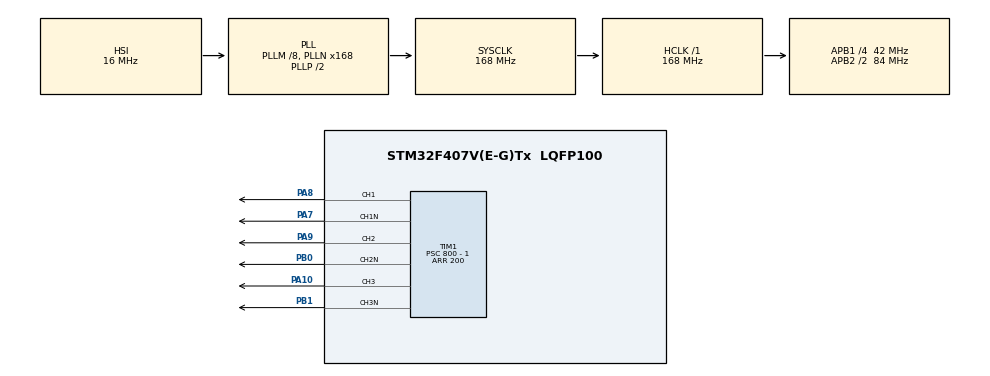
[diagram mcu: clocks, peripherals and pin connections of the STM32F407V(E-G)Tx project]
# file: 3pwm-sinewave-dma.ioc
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Dma.Request0=TIM1_CH1
Dma.Request1=TIM1_CH2
Dma.Request2=TIM1_CH3
Dma.TIM1_CH1.0.Direction=DMA_MEMORY_TO_PERIPH
Dma.TIM1_CH1.0.FIFOMode=DMA_FIFOMODE_DISABLE
Dma.TIM1_CH1.0.Instance=DMA2_Stream1
Dma.TIM1_CH1.0.MemDataAlignment=DMA_MDATAALIGN_WORD
Dma.TIM1_CH1.0.MemInc=DMA_MINC_ENABLE
Dma.TIM1_CH1.0.Mode=DMA_CIRCULAR
Dma.TIM1_CH1.0.PeriphDataAlignment=DMA_PDATAALIGN_WORD
Dma.TIM1_CH1.0.PeriphInc=DMA_PINC_DISABLE
Dma.TIM1_CH1.0.Priority=DMA_PRIORITY_LOW
Dma.TIM1_CH2.1.Direction=DMA_MEMORY_TO_PERIPH
Dma.TIM1_CH2.1.FIFOMode=DMA_FIFOMODE_DISABLE
Dma.TIM1_CH2.1.Instance=DMA2_Stream2
Dma.TIM1_CH2.1.MemDataAlignment=DMA_MDATAALIGN_WORD
Dma.TIM1_CH2.1.MemInc=DMA_MINC_ENABLE
Dma.TIM1_CH2.1.Mode=DMA_CIRCULAR
Dma.TIM1_CH2.1.PeriphDataAlignment=DMA_PDATAALIGN_WORD
Dma.TIM1_CH2.1.PeriphInc=DMA_PINC_DISABLE
Dma.TIM1_CH2.1.Priority=DMA_PRIORITY_LOW
Dma.TIM1_CH3.2.Direction=DMA_MEMORY_TO_PERIPH
Dma.TIM1_CH3.2.FIFOMode=DMA_FIFOMODE_DISABLE
Dma.TIM1_CH3.2.Instance=DMA2_Stream6
Dma.TIM1_CH3.2.MemDataAlignment=DMA_MDATAALIGN_WORD
Dma.TIM1_CH3.2.MemInc=DMA_MINC_ENABLE
Dma.TIM1_CH3.2.Mode=DMA_CIRCULAR
Dma.TIM1_CH3.2.PeriphDataAlignment=DMA_PDATAALIGN_WORD
Dma.TIM1_CH3.2.PeriphInc=DMA_PINC_DISABLE
Dma.TIM1_CH3.2.Priority=DMA_PRIORITY_LOW
Mcu.Family=STM32F4
Mcu.Name=STM32F407V(E-G)Tx
Mcu.Package=LQFP100
NVIC.DMA2_Stream1_IRQn=true\:0\:0\:false\:false\:true\:false\:true
NVIC.DMA2_Stream2_IRQn=true\:0\:0\:false\:false\:true\:false\:true
NVIC.DMA2_Stream6_IRQn=true\:0\:0\:false\:false\:true\:false\:true
NVIC.PriorityGroup=NVIC_PRIORITYGROUP_4
PA10.Signal=S_TIM1_CH3
PA13.Mode=Serial_Wire
PA13.Signal=SYS_JTMS-SWDIO
PA14.Mode=Serial_Wire
PA14.Signal=SYS_JTCK-SWCLK
PA7.Mode=PWM Generation1 CH1 CH1N
PA7.Signal=TIM1_CH1N
PA8.Signal=S_TIM1_CH1
PA9.Signal=S_TIM1_CH2
PB0.Mode=PWM Generation2 CH2 CH2N
PB0.Signal=TIM1_CH2N
PB1.Mode=PWM Generation3 CH3 CH3N
PB1.Signal=TIM1_CH3N
ProjectManager.HeapSize=0x200
ProjectManager.StackSize=0x400
ProjectManager.TargetToolchain=MDK-ARM V5.27
RCC.48MHZClocksFreq_Value=84000000
RCC.AHBFreq_Value=168000000
RCC.APB1CLKDivider=RCC_HCLK_DIV4
RCC.APB1Freq_Value=42000000
RCC.APB1TimFreq_Value=84000000
RCC.APB2CLKDivider=RCC_HCLK_DIV2
RCC.APB2Freq_Value=84000000
RCC.APB2TimFreq_Value=168000000
RCC.CortexFreq_Value=168000000
RCC.HCLKFreq_Value=168000000
RCC.HSE_VALUE=25000000
RCC.HSI_VALUE=16000000
RCC.LSE_VALUE=32768
RCC.PLLM=8
RCC.PLLN=168
RCC.SYSCLKFreq_VALUE=168000000
RCC.SYSCLKSource=RCC_SYSCLKSOURCE_PLLCLK
RCC.VCOOutputFreq_Value=336000000
SH.S_TIM1_CH1.0=TIM1_CH1,PWM Generation1 CH1 CH1N
SH.S_TIM1_CH2.0=TIM1_CH2,PWM Generation2 CH2 CH2N
SH.S_TIM1_CH3.0=TIM1_CH3,PWM Generation3 CH3 CH3N
TIM1.Channel-PWM\ Generation1\ CH1\ CH1N=TIM_CHANNEL_1
TIM1.Channel-PWM\ Generation2\ CH2\ CH2N=TIM_CHANNEL_2
TIM1.Channel-PWM\ Generation3\ CH3\ CH3N=TIM_CHANNEL_3
TIM1.DeadTime=85
TIM1.LockLevel=TIM_LOCKLEVEL_1
TIM1.Period=200
TIM1.Prescaler=800 - 1
VP_TIM1_VS_ClockSourceINT.Mode=Internal
board=custom

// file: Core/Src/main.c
/* USER CODE BEGIN Header */
/**
  ******************************************************************************
  * @file           : main.c
  * @brief          : Main program body
  ******************************************************************************
  * @attention
  *
  * <h2><center>&copy; Copyright (c) 2021 STMicroelectronics.
  * All rights reserved.</center></h2>
  *
  * This software component is licensed by ST under BSD 3-Clause license,
  * the "License"; You may not use this file except in compliance with the
  * License. You may obtain a copy of the License at:
  *                        opensource.org/licenses/BSD-3-Clause
  *
  ******************************************************************************
  */
/* USER CODE END Header */
#include "main.h"
#include "dma.h"
#include "tim.h"
#include "gpio.h"

/* USER CODE BEGIN PTD */
uint32_t pwmsine1p[21]={10,131,159,181,195,200,195,181,159,131,100,69,41,19,5,0,5,19,41,69,100};
uint32_t pwmsine2p[21];
uint32_t pwmsine3p[21];

	int i = 0;
/* USER CODE END PTD */

void SystemClock_Config(void);

int main(void)
{

  /* MCU Configuration--------------------------------------------------------*/

  /* Reset of all peripherals, Initializes the Flash interface and the Systick. */
  HAL_Init();

  /* Configure the system clock */
  SystemClock_Config();

  /* Initialize all configured peripherals */
  MX_GPIO_Init();
  MX_DMA_Init();
  MX_TIM1_Init();
  /* USER CODE BEGIN 2 */
	for( i = 7 ; i < 21 ; i++)
	 pwmsine2p[i - 7] = pwmsine1p[i];

	for( i = 0 ; i < 7 ; i++)
	 pwmsine2p[i + 14] = pwmsine1p[i];

	for( i = 14 ; i < 21 ; i++)
	 pwmsine3p[i - 14] = pwmsine1p[i];

	for( i = 0 ; i < 14 ; i++)
	 pwmsine3p[i + 7] = pwmsine1p[i];

	 HAL_TIM_PWM_Start_DMA(&htim1,TIM_CHANNEL_1,pwmsine1p,21);
	 HAL_TIMEx_PWMN_Start(&htim1, TIM_CHANNEL_1);

	 HAL_TIM_PWM_Start_DMA(&htim1,TIM_CHANNEL_2,pwmsine2p,21);
	 HAL_TIMEx_PWMN_Start(&htim1, TIM_CHANNEL_2);

	 HAL_TIM_PWM_Start_DMA(&htim1,TIM_CHANNEL_3,pwmsine3p,21);
	 HAL_TIMEx_PWMN_Start(&htim1, TIM_CHANNEL_3);
  /* USER CODE END 2 */

  /* Infinite loop */
  while (1)
  {

    /* USER CODE BEGIN 3 */
		HAL_Delay(10);
  }
  /* USER CODE END 3 */
}

void SystemClock_Config(void)
{
  RCC_OscInitTypeDef RCC_OscInitStruct = {0};
  RCC_ClkInitTypeDef RCC_ClkInitStruct = {0};

  /** Configure the main internal regulator output voltage
  */
  __HAL_RCC_PWR_CLK_ENABLE();
  __HAL_PWR_VOLTAGESCALING_CONFIG(PWR_REGULATOR_VOLTAGE_SCALE1);
  /** Initializes the RCC Oscillators according to the specified parameters
  * in the RCC_OscInitTypeDef structure.
  */
  RCC_OscInitStruct.OscillatorType = RCC_OSCILLATORTYPE_HSI;
  RCC_OscInitStruct.HSIState = RCC_HSI_ON;
  RCC_OscInitStruct.HSICalibrationValue = RCC_HSICALIBRATION_DEFAULT;
  RCC_OscInitStruct.PLL.PLLState = RCC_PLL_ON;
  RCC_OscInitStruct.PLL.PLLSource = RCC_PLLSOURCE_HSI;
  RCC_OscInitStruct.PLL.PLLM = 8;
  RCC_OscInitStruct.PLL.PLLN = 168;
  RCC_OscInitStruct.PLL.PLLP = RCC_PLLP_DIV2;
  RCC_OscInitStruct.PLL.PLLQ = 4;
  if (HAL_RCC_OscConfig(&RCC_OscInitStruct) != HAL_OK)
  {
    Error_Handler();
  }
  /** Initializes the CPU, AHB and APB buses clocks
  */
  RCC_ClkInitStruct.ClockType = RCC_CLOCKTYPE_HCLK|RCC_CLOCKTYPE_SYSCLK
                              |RCC_CLOCKTYPE_PCLK1|RCC_CLOCKTYPE_PCLK2;
  RCC_ClkInitStruct.SYSCLKSource = RCC_SYSCLKSOURCE_PLLCLK;
  RCC_ClkInitStruct.AHBCLKDivider = RCC_SYSCLK_DIV1;
  RCC_ClkInitStruct.APB1CLKDivider = RCC_HCLK_DIV4;
  RCC_ClkInitStruct.APB2CLKDivider = RCC_HCLK_DIV2;

  if (HAL_RCC_ClockConfig(&RCC_ClkInitStruct, FLASH_LATENCY_5) != HAL_OK)
  {
    Error_Handler();
  }
}

void Error_Handler(void)
{
  __disable_irq();
  while (1)
  {
  }
}

/************************ (C) COPYRIGHT STMicroelectronics *****END OF FILE****/
